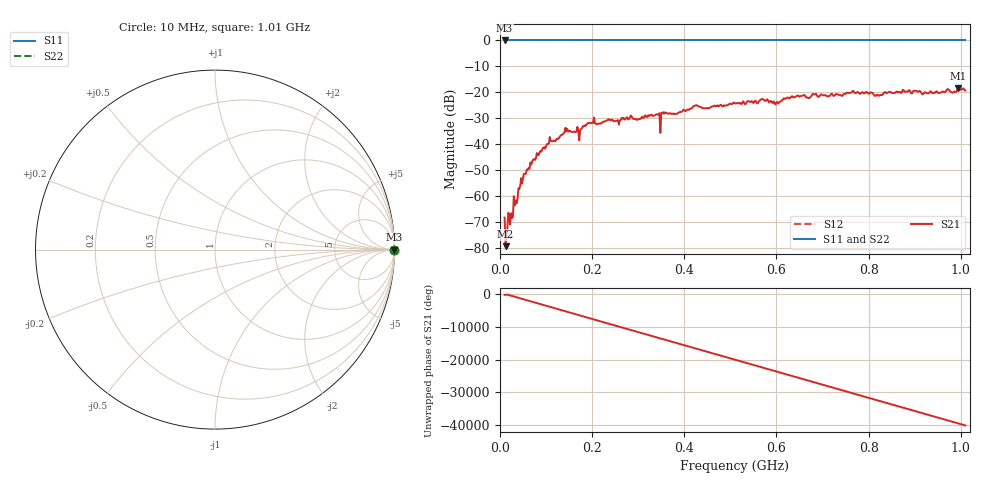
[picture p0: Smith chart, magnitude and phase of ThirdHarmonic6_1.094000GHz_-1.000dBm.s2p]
! 8/16/2025 10:12:52 AM
! C:\ANRITSUVNA\TEMP\TEMP.S2P
! CHANNEL.1
! TR.MEASUREMENT
! RAW.DATA
! RF.CORRECTION.OFF
! AVERAGING.OFF
! IF.BANDWIDTH: 5KHZ
! SWEEPTYPE:  FREQ.SWEEP(Linear)
! Reference Plane Port Info
! PORT:  PORT1  PORT2
! DISTANCE:  0  m  0  m
! TIME:  0  s  0  s
! PHASE.OFFSET:  0  deg.  0  deg.
! LOSS:  0  dB  0  dB
! REF.LOSS:  0  dB  0  dB
! REF.FREQ:  0  Hz  0  Hz
! Power Info
! POWER:  -20  dBm  -20  dBm
! EFF.POWER:  -20  dBm  -20  dBm
! SOURCE.ATTEN:  0  dB  0  dB
! TEST.ATTEN:  0  dB  0  dB
# GHZ S RI R 50.0
! FREQ.GHZ  S11RE  S11IM  S21RE  S21IM  S12RE  S12IM  S22RE  S22IM
!; PortSelection: Port_12
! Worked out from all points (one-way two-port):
!   501 points, 10 MHz to 1.01 GHz, reference 50 ohm
!   highest |S21| = -18.46 dB at 994 MHz (marker M1); lowest = -79.1 dB at 12 MHz (marker M2)
!   lowest |S11| = 0.0 dB at 10 MHz (marker M3)
!   |S11| at or under -10 dB: nowhere
!   |S22| runs from 0.0 to 0.0 dB; largest |S21 - S12| = 1.1
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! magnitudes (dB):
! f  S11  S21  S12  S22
! 10 MHz  0.0  -68.1  0.0  0.0
! 12 MHz  0.0  -79.1  0.0  0.0
! 24 MHz  0.0  -66.4  0.0  0.0
! 48 MHz  0.0  -55.0  0.0  0.0
! 70 MHz  0.0  -46.5  0.0  0.0
! 106 MHz  0.0  -39.7  0.0  0.0
! 142 MHz  0.0  -33.6  0.0  0.0
! 168 MHz  0.0  -33.2  0.0  0.0
! 178 MHz  0.0  -33.7  0.0  0.0
! 200 MHz  0.0  -31.7  0.0  0.0
! 342 MHz  0.0  -28.5  0.0  0.0
! 344 MHz  0.0  -28.5  0.0  0.0
! 354 MHz  0.0  -27.6  0.0  0.0
! 382 MHz  0.0  -28.3  0.0  0.0
! 424 MHz  0.0  -25.0  0.0  0.0
! 510 MHz  0.0  -24.2  0.0  0.0
! 568 MHz  0.0  -22.6  0.0  0.0
! 600 MHz  0.0  -23.8  0.0  0.0
! 678 MHz  0.0  -20.7  0.0  0.0
! 844 MHz  0.0  -19.8  0.0  0.0
! 994 MHz  0.0  -18.5  0.0  0.0
! 1.01 GHz  0.0  -19.3  0.0  0.0
